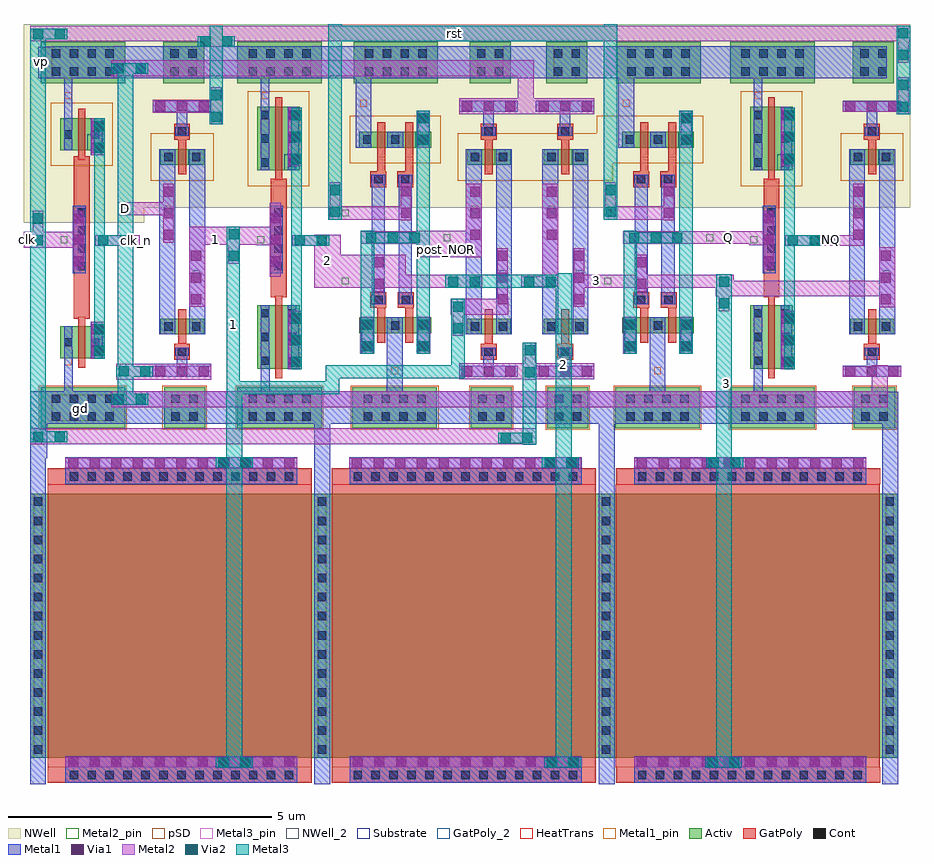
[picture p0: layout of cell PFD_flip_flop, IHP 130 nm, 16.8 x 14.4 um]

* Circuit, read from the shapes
.subckt PFD_flip_flop 1 2 3 D NQ Q clk clk_n gd post_NOR rst vp
XM1 gd 1 gd gd sg13_lv_nmos w=5u l=5u
XM2 clk_n clk gd gd sg13_lv_nmos w=0.6u l=0.13u
XM3 1 clk_n D gd sg13_lv_nmos w=0.3u l=0.15u
XM4 2 1 gd gd sg13_lv_nmos w=1.2u l=0.13u
XM5 gd 2 gd gd sg13_lv_nmos w=5u l=5u
XM6 gd 2 post_NOR gd sg13_lv_nmos w=0.3u l=0.15u
XM7 post_NOR rst gd gd sg13_lv_nmos w=0.3u l=0.15u
XM8 1 clk post_NOR gd sg13_lv_nmos w=0.3u l=0.15u
XM9 3 clk 2 gd sg13_lv_nmos w=0.3u l=0.15u
XM10 gd 3 gd gd sg13_lv_nmos w=5u l=5u
XM11 gd 3 Q gd sg13_lv_nmos w=0.3u l=0.15u
XM12 Q rst gd gd sg13_lv_nmos w=0.3u l=0.15u
XM13 NQ Q gd gd sg13_lv_nmos w=1.2u l=0.13u
XM14 3 clk_n NQ gd sg13_lv_nmos w=0.3u l=0.15u
XM15 clk_n clk vp vp sg13_lv_pmos w=0.6u l=0.13u
XM16 1 clk D vp sg13_lv_pmos w=0.3u l=0.15u
XM17 2 1 vp vp sg13_lv_pmos w=1.2u l=0.13u
XM18 n1 2 vp vp sg13_lv_pmos w=0.3u l=0.15u
XM19 post_NOR rst n1 vp sg13_lv_pmos w=0.3u l=0.15u
XM20 1 clk_n post_NOR vp sg13_lv_pmos w=0.3u l=0.15u
XM21 3 clk_n 2 vp sg13_lv_pmos w=0.3u l=0.15u
XM22 n2 3 vp vp sg13_lv_pmos w=0.3u l=0.15u
XM23 Q rst n2 vp sg13_lv_pmos w=0.3u l=0.15u
XM24 NQ Q vp vp sg13_lv_pmos w=1.2u l=0.13u
XM25 3 clk NQ vp sg13_lv_pmos w=0.3u l=0.15u
.ends

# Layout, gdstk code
from math import pi, radians
import gdstk
lib = gdstk.Library(unit=1e-6, precision=1e-09)
def R(c, l, rs):  # rectangles x0, y0, x1, y1
    for r in rs: c.add(gdstk.rectangle(r[:2], r[2:], *l))
def A(c, l, x, y, w, h, nx, ny, dx, dy):  # array of equal rectangles
    R(c, l, [(x+i*dx, y+j*dy, x+i*dx+w, y+j*dy+h) for i in range(nx) for j in range(ny)])
def P(c, l, *ps):  # polygons
    for p in ps: c.add(gdstk.Polygon(p, *l))
Activ = (1, 0)
GatPoly = (5, 0)
GatPoly_2 = (5, 2)
Cont = (6, 0)
Metal1 = (8, 0)
Metal1_pin = (8, 2)
Metal2 = (10, 0)
Metal2_pin = (10, 2)
pSD = (14, 0)
Via1 = (19, 0)
Via2 = (29, 0)
Metal3 = (30, 0)
Metal3_pin = (30, 2)
NWell = (31, 0)
NWell_2 = (31, 2)
Substrate = (40, 0)
HeatTrans = (51, 0)

via_3 = lib.new_cell('Via$3')
R(via_3, Metal2, [(-0.1,-0.555,0.1,0.555)])
A(via_3, Via2, -0.095, -0.505, 0.19, 0.19, 1, 3, 0, 0.41)
R(via_3, Metal3, [(-0.1,-0.555,0.1,0.555)])

via_2_1 = lib.new_cell('Via$2$1')
R(via_2_1, Metal1, [(-0.105,-0.555,0.105,0.555)])
R(via_2_1, Metal2, [(-0.1,-0.555,0.1,0.555)])
A(via_2_1, Via1, -0.095, -0.505, 0.19, 0.19, 1, 3, 0, 0.41)

via_3_1 = lib.new_cell('Via$3$1')
R(via_3_1, Metal2, [(-0.35,-0.1,0.35,0.1)])
R(via_3_1, Via2, [(-0.3,-0.095,-0.11,0.095), (0.11,-0.095,0.3,0.095)])
R(via_3_1, Metal3, [(-0.35,-0.1,0.35,0.1)])

ntap1_1 = lib.new_cell('ntap1$1')
R(ntap1_1, Activ, [(0,0,1.6,0.78)])
A(ntap1_1, Cont, 0.21, 0.14, 0.16, 0.16, 4, 2, 0.34, 0.34)
R(ntap1_1, Metal1, [(0.21,0.09,1.39,0.69)])
R(ntap1_1, Metal1_pin, [(0.21,0.09,1.39,0.69), (0.21,0.14,1.39,0.64)])
R(ntap1_1, NWell, [(-0.24,-0.24,1.84,1.02), (0,0,1.6,0.78)])
R(ntap1_1, NWell_2, [(0,0,1.6,0.78)])
ntap1_1.add(gdstk.Label('well', (0.8,0.01), layer=63, texttype=0))
ntap1_1.add(gdstk.Label('well', (0.8,0.01), layer=31, texttype=0))

ptap1_1 = lib.new_cell('ptap1$1')
R(ptap1_1, Activ, [(0,0,1.6,0.78)])
A(ptap1_1, Cont, 0.21, 0.14, 0.16, 0.16, 4, 2, 0.34, 0.34)
R(ptap1_1, Metal1, [(0.21,0.09,1.39,0.69), (0.21,0.14,1.39,0.64)])
R(ptap1_1, Metal1_pin, [(0.21,0.14,1.39,0.64)])
R(ptap1_1, pSD, [(-0.03,-0.03,1.63,0.81)])
R(ptap1_1, Substrate, [(0,0,1.6,0.78)])
ptap1_1.add(gdstk.Label('sub!', (0.8,0.01), layer=63, texttype=0))
ptap1_1.add(gdstk.Label('sub!', (0.8,0.01), layer=40, texttype=0))

nmos_1 = lib.new_cell('nmos$1')
R(nmos_1, Activ, [(0,0,0.3,0.3), (0,0,0.81,1.2), (0.51,0,0.81,0.3)])
R(nmos_1, GatPoly, [(0.34,-0.18,0.47,1.38)])
R(nmos_1, GatPoly_2, [(0.34,-0.18,0.47,1.38)])
A(nmos_1, Cont, 0.07, 0.07, 0.16, 0.16, 1, 3, 0, 0.45)
A(nmos_1, Cont, 0.58, 0.07, 0.16, 0.16, 1, 3, 0, 0.45)
R(nmos_1, Metal1, [(0.07,0,0.23,1.2), (0.58,0,0.74,1.2)])
R(nmos_1, Metal1_pin, [(0.07,0,0.23,1.2), (0.58,0,0.74,1.2)])
R(nmos_1, HeatTrans, [(0.34,-0.18,0.47,1.38)])
nmos_1.add(gdstk.Label('nmos', (0.405,0.6), layer=63, texttype=0))
nmos_1.add(gdstk.Label('nmos', (0.405,0.6), layer=51, texttype=0))

pmos_1 = lib.new_cell('pmos$1')
R(pmos_1, Activ, [(0,0,0.3,0.3), (0,0,0.81,1.2), (0.51,0,0.81,0.3)])
R(pmos_1, GatPoly, [(0.34,-0.18,0.47,1.38), (0.34,-0.18,0.47,1.38)])
A(pmos_1, Cont, 0.07, 0.07, 0.16, 0.16, 1, 3, 0, 0.45)
A(pmos_1, Cont, 0.58, 0.07, 0.16, 0.16, 1, 3, 0, 0.45)
R(pmos_1, Metal1, [(0.07,0,0.23,1.2), (0.07,0,0.23,1.2), (0.58,0,0.74,1.2), (0.58,0,0.74,1.2)])
R(pmos_1, pSD, [(-0.18,-0.3,0.99,1.5)])
R(pmos_1, NWell, [(-0.31,-0.31,1.12,1.51)])
R(pmos_1, Substrate, [(0.51,0,0.81,0.3)])
R(pmos_1, HeatTrans, [(0.34,-0.18,0.47,1.38)])
pmos_1.add(gdstk.Label('pmos', (0.405,0.6), layer=63, texttype=0))
pmos_1.add(gdstk.Label('pmos', (0.405,0.6), layer=51, texttype=0))

via_4 = lib.new_cell('Via$4')
R(via_4, GatPoly, [(-0.15,-0.66,0.15,0.66)])
A(via_4, Cont, -0.08, -0.59, 0.16, 0.16, 1, 4, 0, 0.34)
R(via_4, Metal1, [(-0.08,-0.64,0.08,0.64)])

inverter_x8 = lib.new_cell('inverter_x8')
R(inverter_x8, GatPoly, [(-0.265,-2.855,-0.135,-2.655), (-0.35,-2.25,-0.05,-1.81), (-0.35,-0.49,-0.05,0)])
R(inverter_x8, Metal1, [(-0.535,-4.45,-0.37,-3.805), (-0.535,-3.805,-0.37,-3.24), (-0.37,-1.79,-0.35,-0.51), (-0.35,-1.79,-0.28,-0.51), (-0.535,0.96,-0.375,1.26), (-0.535,1.245,-0.375,2.235)])
R(inverter_x8, Metal1_pin, [(-0.52,-3.54,-0.39,-3.41), (-0.52,1.51,-0.39,1.64)])
R(inverter_x8, Metal2, [(0.53,-1.27,0.9,-1.07), (-0.62,-1.26,-0.28,-1.06)])
R(inverter_x8, Metal2_pin, [(0.555,-1.235,0.685,-1.105), (-0.6,-1.225,-0.47,-1.095)])
R(inverter_x8, Metal3, [(0.04,-3.09,0.24,-2.63), (0.04,-2.7,0.24,-0.24), (0.04,-0.34,0.24,0.76)])
R(inverter_x8, NWell, [(-1.3,-0.55,0.98,0.655), (-1.3,0.655,0.755,2.925), (0.755,0.655,0.98,2.925)])
inverter_x8.add(gdstk.Reference(via_3, (0.14,-3.06)))
inverter_x8.add(gdstk.Reference(via_2_1, (0.08,-3.06)))
inverter_x8.add(gdstk.Reference(via_2_1, (-0.26,-1.16)))
inverter_x8.add(gdstk.Reference(via_3_1, (0.41,-1.17)))
inverter_x8.add(gdstk.Reference(via_3, (0.14,0.79)))
inverter_x8.add(gdstk.Reference(via_2_1, (0.08,0.79)))
inverter_x8.add(gdstk.Reference(ntap1_1, (-0.98,1.81)))
inverter_x8.add(gdstk.Reference(ptap1_1, (-0.98,-4.73)))
inverter_x8.add(gdstk.Reference(nmos_1, (-0.605,-3.6)))
inverter_x8.add(gdstk.Reference(pmos_1, (-0.605,0.16)))
inverter_x8.add(gdstk.Reference(via_4, (-0.2,-1.15)))
inverter_x8.add(gdstk.Label('OUT', (0.62,-1.17), layer=10, texttype=25))
inverter_x8.add(gdstk.Label('IN', (-0.54,-1.16), layer=10, texttype=25))
inverter_x8.add(gdstk.Label('GND', (-0.455,-3.47), layer=8, texttype=25))
inverter_x8.add(gdstk.Label('VP', (-0.455,1.57), layer=8, texttype=25))

via_12 = lib.new_cell('Via$12')
R(via_12, Metal2, [(-0.1,-0.35,0.1,0.35)])
R(via_12, Via2, [(-0.095,-0.3,0.095,-0.11), (-0.095,0.11,0.095,0.3)])
R(via_12, Metal3, [(-0.1,-0.35,0.1,0.35)])

pmos_2 = lib.new_cell('pmos$2')
R(pmos_2, Activ, [(0,0,0.3,0.3), (0,0,0.83,0.3), (0.53,0,0.83,0.3)])
R(pmos_2, GatPoly, [(0.34,-0.18,0.49,0.48), (0.34,-0.18,0.49,0.48)])
R(pmos_2, Cont, [(0.07,0.07,0.23,0.23), (0.6,0.07,0.76,0.23)])
R(pmos_2, Metal1, [(0.07,0,0.23,0.3), (0.07,0,0.23,0.3), (0.6,0,0.76,0.3), (0.6,0,0.76,0.3)])
R(pmos_2, pSD, [(-0.18,-0.3,1.01,0.6)])
R(pmos_2, NWell, [(-0.31,-0.31,1.14,0.61)])
R(pmos_2, Substrate, [(0.53,0,0.83,0.3)])
R(pmos_2, HeatTrans, [(0.34,-0.18,0.49,0.48)])
pmos_2.add(gdstk.Label('pmos', (0.415,0.15), layer=63, texttype=0))
pmos_2.add(gdstk.Label('pmos', (0.415,0.15), layer=51, texttype=0))

nmos_2 = lib.new_cell('nmos$2')
R(nmos_2, Activ, [(0,0,0.3,0.3), (0,0,0.83,0.3), (0.53,0,0.83,0.3)])
R(nmos_2, GatPoly, [(0.34,-0.18,0.49,0.48)])
R(nmos_2, GatPoly_2, [(0.34,-0.18,0.49,0.48)])
R(nmos_2, Cont, [(0.07,0.07,0.23,0.23), (0.6,0.07,0.76,0.23)])
R(nmos_2, Metal1, [(0.07,0,0.23,0.3), (0.6,0,0.76,0.3)])
R(nmos_2, Metal1_pin, [(0.07,0,0.23,0.3), (0.6,0,0.76,0.3)])
R(nmos_2, HeatTrans, [(0.34,-0.18,0.49,0.48)])
nmos_2.add(gdstk.Label('nmos', (0.415,0.15), layer=63, texttype=0))
nmos_2.add(gdstk.Label('nmos', (0.415,0.15), layer=51, texttype=0))

ptap1_2 = lib.new_cell('ptap1$2')
R(ptap1_2, Activ, [(0,0,0.78,0.78)])
R(ptap1_2, Cont, [(0.14,0.14,0.3,0.3), (0.48,0.14,0.64,0.3), (0.14,0.48,0.3,0.64), (0.48,0.48,0.64,0.64)])
R(ptap1_2, Metal1, [(0.14,0.09,0.64,0.69), (0.14,0.14,0.64,0.64)])
R(ptap1_2, Metal1_pin, [(0.14,0.14,0.64,0.64)])
R(ptap1_2, pSD, [(-0.03,-0.03,0.81,0.81)])
R(ptap1_2, Substrate, [(0,0,0.78,0.78)])
ptap1_2.add(gdstk.Label('sub!', (0.39,0.01), layer=63, texttype=0))
ptap1_2.add(gdstk.Label('sub!', (0.39,0.01), layer=40, texttype=0))

ntap1_2 = lib.new_cell('ntap1$2')
R(ntap1_2, Activ, [(0,0,0.78,0.78)])
R(ntap1_2, Cont, [(0.14,0.14,0.3,0.3), (0.48,0.14,0.64,0.3), (0.14,0.48,0.3,0.64), (0.48,0.48,0.64,0.64)])
R(ntap1_2, Metal1, [(0.14,0.09,0.64,0.69)])
R(ntap1_2, Metal1_pin, [(0.14,0.09,0.64,0.69), (0.14,0.14,0.64,0.64)])
R(ntap1_2, NWell, [(-0.24,-0.24,1.02,1.02), (0,0,0.78,0.78)])
R(ntap1_2, NWell_2, [(0,0,0.78,0.78)])
ntap1_2.add(gdstk.Label('well', (0.39,0.01), layer=63, texttype=0))
ntap1_2.add(gdstk.Label('well', (0.39,0.01), layer=31, texttype=0))

via_10 = lib.new_cell('Via$10')
R(via_10, Metal1, [(-0.555,-0.105,0.555,0.105)])
R(via_10, Metal2, [(-0.555,-0.1,0.555,0.1)])
A(via_10, Via1, -0.505, -0.095, 0.19, 0.19, 3, 1, 0.41, 0)

via_5_2 = lib.new_cell('Via$5$2')
R(via_5_2, GatPoly, [(-0.15,-0.15,0.15,0.15)])
R(via_5_2, Cont, [(-0.08,-0.08,0.08,0.08)])
R(via_5_2, Metal1, [(-0.13,-0.08,0.13,0.08)])

via_3_2 = lib.new_cell('Via$3$2')
R(via_3_2, Metal1, [(-0.105,-0.555,0.105,0.555)])
R(via_3_2, Metal2, [(-0.1,-0.555,0.1,0.555)])
A(via_3_2, Via1, -0.095, -0.505, 0.19, 0.19, 1, 3, 0, 0.41)

pfd_passgate = lib.new_cell('PFD_passgate')
R(pfd_passgate, Metal1_pin, [(-3.245,-4.395,-3.115,-4.265), (-3.245,2.135,-3.115,2.265)])
R(pfd_passgate, Metal2_pin, [(-3.295,-3.705,-3.165,-3.575), (-3.015,-1.865,-2.885,-1.735), (-3.545,-0.645,-3.415,-0.515), (-3.285,1.295,-3.155,1.425)])
R(pfd_passgate, NWell, [(-3.94,-0.55,-2.49,2.83), (-3.94,2.83,-2.49,2.93)])
pfd_passgate.add(gdstk.FlexPath([(-2.93,0.56),(-2.93,-2.95)], 0.3, ends="flush", simple_path=True, layer=8, datatype=0))  # Metal1
pfd_passgate.add(gdstk.FlexPath([(-3.5,0.56),(-3.5,-2.95)], 0.3, ends="flush", simple_path=True, layer=8, datatype=0))  # Metal1
pfd_passgate.add(gdstk.FlexPath([(-3.22,0.81),(-3.22,1.33)], 0.2, ends="flush", simple_path=True, layer=8, datatype=0))  # Metal1
pfd_passgate.add(gdstk.FlexPath([(-3.22,-3.72),(-3.22,-3.2)], 0.2, ends="flush", simple_path=True, layer=8, datatype=0))  # Metal1
pfd_passgate.add(gdstk.Reference(pmos_2, (-3.63,0.26)))
pfd_passgate.add(gdstk.Reference(nmos_2, (-3.63,-2.95)))
pfd_passgate.add(gdstk.Reference(ptap1_2, (-3.56,-4.73)))
pfd_passgate.add(gdstk.Reference(ntap1_2, (-3.58,1.81)))
pfd_passgate.add(gdstk.Reference(via_10, (-3.22,1.37)))
pfd_passgate.add(gdstk.Reference(via_5_2, (-3.22,0.89)))
pfd_passgate.add(gdstk.Reference(via_5_2, (-3.22,-3.28)))
pfd_passgate.add(gdstk.Reference(via_10, (-3.22,-3.65)))
pfd_passgate.add(gdstk.Reference(via_3_2, (-3.475,-0.655)))
pfd_passgate.add(gdstk.Reference(via_3_2, (-2.955,-1.875)))
pfd_passgate.add(gdstk.Label('A', (-3.48,-0.58), layer=10, texttype=25))
pfd_passgate.add(gdstk.Label('B', (-2.95,-1.8), layer=10, texttype=25))
pfd_passgate.add(gdstk.Label('in_p', (-3.22,1.36), layer=10, texttype=25))
pfd_passgate.add(gdstk.Label('in_n', (-3.23,-3.64), layer=10, texttype=25))
pfd_passgate.add(gdstk.Label('gnd', (-3.18,-4.33), layer=8, texttype=25))
pfd_passgate.add(gdstk.Label('vp', (-3.18,2.2), layer=8, texttype=25))

pmos_3 = lib.new_cell('pmos$3')
R(pmos_3, Activ, [(0,0,0.3,0.3), (0,0,0.83,0.3), (0.53,0,0.83,0.3)])
R(pmos_3, GatPoly, [(0.34,-0.18,0.49,0.48), (0.34,-0.18,0.49,0.48)])
R(pmos_3, Cont, [(0.07,0.07,0.23,0.23), (0.6,0.07,0.76,0.23)])
R(pmos_3, Metal1, [(0.07,0,0.23,0.3), (0.07,0,0.23,0.3), (0.6,0,0.76,0.3), (0.6,0,0.76,0.3)])
R(pmos_3, pSD, [(-0.18,-0.3,1.01,0.6)])
R(pmos_3, NWell, [(-0.31,-0.31,1.14,0.61)])
R(pmos_3, Substrate, [(0.53,0,0.83,0.3)])
R(pmos_3, HeatTrans, [(0.34,-0.18,0.49,0.48)])
pmos_3.add(gdstk.Label('pmos', (0.415,0.15), layer=63, texttype=0))
pmos_3.add(gdstk.Label('pmos', (0.415,0.15), layer=51, texttype=0))

ntap1_3 = lib.new_cell('ntap1$3')
R(ntap1_3, Activ, [(0,0,1.6,0.78)])
A(ntap1_3, Cont, 0.21, 0.14, 0.16, 0.16, 4, 2, 0.34, 0.34)
R(ntap1_3, Metal1, [(0.21,0.09,1.39,0.69)])
R(ntap1_3, Metal1_pin, [(0.21,0.09,1.39,0.69), (0.21,0.14,1.39,0.64)])
R(ntap1_3, NWell, [(-0.24,-0.24,1.84,1.02), (0,0,1.6,0.78)])
R(ntap1_3, NWell_2, [(0,0,1.6,0.78)])
ntap1_3.add(gdstk.Label('well', (0.8,0.01), layer=63, texttype=0))
ntap1_3.add(gdstk.Label('well', (0.8,0.01), layer=31, texttype=0))

via_5_3 = lib.new_cell('Via$5$3')
R(via_5_3, GatPoly, [(-0.15,-0.15,0.15,0.15)])
R(via_5_3, Cont, [(-0.08,-0.08,0.08,0.08)])
R(via_5_3, Metal1, [(-0.13,-0.08,0.13,0.08)])

via_6_1 = lib.new_cell('Via$6$1')
R(via_6_1, Metal1, [(-0.105,-0.35,0.105,0.35)])
R(via_6_1, Metal2, [(-0.1,-0.35,0.1,0.35)])
R(via_6_1, Via1, [(-0.095,-0.3,0.095,-0.11), (-0.095,0.11,0.095,0.3)])

ptap1_3 = lib.new_cell('ptap1$3')
R(ptap1_3, Activ, [(0,0,1.6,0.78)])
A(ptap1_3, Cont, 0.21, 0.14, 0.16, 0.16, 4, 2, 0.34, 0.34)
R(ptap1_3, Metal1, [(0.21,0.09,1.39,0.69), (0.21,0.14,1.39,0.64)])
R(ptap1_3, Metal1_pin, [(0.21,0.14,1.39,0.64)])
R(ptap1_3, pSD, [(-0.03,-0.03,1.63,0.81)])
R(ptap1_3, Substrate, [(0,0,1.6,0.78)])
ptap1_3.add(gdstk.Label('sub!', (0.8,0.01), layer=63, texttype=0))
ptap1_3.add(gdstk.Label('sub!', (0.8,0.01), layer=40, texttype=0))

nmos_3 = lib.new_cell('nmos$3')
R(nmos_3, Activ, [(0,0,0.3,0.3), (0,0,0.83,0.3), (0.53,0,0.83,0.3)])
R(nmos_3, GatPoly, [(0.34,-0.18,0.49,0.48)])
R(nmos_3, GatPoly_2, [(0.34,-0.18,0.49,0.48)])
R(nmos_3, Cont, [(0.07,0.07,0.23,0.23), (0.6,0.07,0.76,0.23)])
R(nmos_3, Metal1, [(0.07,0,0.23,0.3), (0.6,0,0.76,0.3)])
R(nmos_3, Metal1_pin, [(0.07,0,0.23,0.3), (0.6,0,0.76,0.3)])
R(nmos_3, HeatTrans, [(0.34,-0.18,0.49,0.48)])
nmos_3.add(gdstk.Label('nmos', (0.415,0.15), layer=63, texttype=0))
nmos_3.add(gdstk.Label('nmos', (0.415,0.15), layer=51, texttype=0))

via_8 = lib.new_cell('Via$8')
R(via_8, Metal2, [(-0.1,-0.35,0.1,0.35)])
R(via_8, Via2, [(-0.095,-0.3,0.095,-0.11), (-0.095,0.11,0.095,0.3)])
R(via_8, Metal3, [(-0.1,-0.35,0.1,0.35)])

via_7_1 = lib.new_cell('Via$7$1')
R(via_7_1, Metal2, [(-0.555,-0.1,0.555,0.1)])
A(via_7_1, Via2, -0.505, -0.095, 0.19, 0.19, 3, 1, 0.41, 0)
R(via_7_1, Metal3, [(-0.555,-0.1,0.555,0.1)])

pfd_nor = lib.new_cell('PFD_NOR')
R(pfd_nor, GatPoly, [(0.53,0.13,0.68,0.41), (0,0.14,0.15,0.41)])
R(pfd_nor, Metal1, [(-0.34,-4.64,1.02,-4.04), (0.19,0.59,0.49,0.89)])
R(pfd_nor, Metal1_pin, [(0.265,-3.705,0.395,-3.575), (-0.325,1.365,-0.195,1.495)])
R(pfd_nor, Metal2, [(-0.315,-1.23,1.39,-1)])
R(pfd_nor, Metal2_pin, [(-0.675,-2.005,-0.545,-1.875), (1.255,-1.185,1.385,-1.055), (-0.675,-0.715,-0.545,-0.585)])
R(pfd_nor, NWell, [(-0.69,-0.55,1.39,2.93)])
pfd_nor.add(gdstk.FlexPath([(-0.26,0.59),(-0.26,2.5)], 0.3, ends="flush", simple_path=True, layer=8, datatype=0))  # Metal1
pfd_nor.add(gdstk.FlexPath([(0.02,0.07),(0.02,-2.38)], 0.25, ends="flush", simple_path=True, layer=8, datatype=0))  # Metal1
pfd_nor.add(gdstk.FlexPath([(0.53,0.07),(0.53,-2.38)], 0.25, ends="flush", simple_path=True, layer=8, datatype=0))  # Metal1
pfd_nor.add(gdstk.FlexPath([(0.33,-2.63),(0.33,-4.04)], 0.3, ends="flush", simple_path=True, layer=8, datatype=0))  # Metal1
pfd_nor.add(gdstk.FlexPath([(-0.195,-2.62),(-0.195,-3.32)], 0.25, ends="flush", simple_path=True, layer=10, datatype=0))  # Metal2
pfd_nor.add(gdstk.FlexPath([(0.875,-2.62),(0.875,-3.32)], 0.25, ends="flush", simple_path=True, layer=10, datatype=0))  # Metal2
pfd_nor.add(gdstk.FlexPath([(0.87,1.29),(0.87,0.59)], 0.25, ends="flush", simple_path=True, layer=10, datatype=0))  # Metal2
pfd_nor.add(gdstk.FlexPath([(0.64,-0.65),(-0.69,-0.65)], 0.25, ends="flush", simple_path=True, layer=10, datatype=0))  # Metal2
pfd_nor.add(gdstk.FlexPath([(0.125,-1.945),(-0.69,-1.945)], 0.25, ends="flush", simple_path=True, layer=10, datatype=0))  # Metal2
pfd_nor.add(gdstk.FlexPath([(-0.185,-3.32),(-0.185,-0.99)], 0.25, ends="flush", simple_path=True, layer=30, datatype=0))  # Metal3
pfd_nor.add(gdstk.FlexPath([(0.87,-3.32),(0.87,1.29)], 0.25, ends="flush", simple_path=True, layer=30, datatype=0))  # Metal3
pfd_nor.add(gdstk.Reference(pmos_3, (-0.34,0.59)))
pfd_nor.add(gdstk.Reference(pmos_3, (0.19,0.59)))
pfd_nor.add(gdstk.Reference(ntap1_3, (-0.45,1.81)))
pfd_nor.add(gdstk.Reference(via_5_3, (0.02,-0.01)))
pfd_nor.add(gdstk.Reference(via_5_3, (0.53,-0.01)))
pfd_nor.add(gdstk.Reference(via_5_3, (0.02,-2.3)))
pfd_nor.add(gdstk.Reference(via_5_3, (0.54,-2.3)))
pfd_nor.add(gdstk.Reference(via_6_1, (0.025,-1.79)))
pfd_nor.add(gdstk.Reference(via_6_1, (0.545,-0.44)))
pfd_nor.add(gdstk.Reference(ptap1_3, (-0.47,-4.73)))
pfd_nor.add(gdstk.Reference(nmos_3, (-0.34,-2.93)))
pfd_nor.add(gdstk.Reference(nmos_3, (0.19,-2.93)))
pfd_nor.add(gdstk.Reference(via_8, (0.87,0.94)))
pfd_nor.add(gdstk.Reference(via_6_1, (0.875,0.94)))
pfd_nor.add(gdstk.Reference(via_8, (0.87,-2.97)))
pfd_nor.add(gdstk.Reference(via_6_1, (0.875,-2.97)))
pfd_nor.add(gdstk.Reference(via_8, (-0.19,-2.97)))
pfd_nor.add(gdstk.Reference(via_6_1, (-0.185,-2.97)))
pfd_nor.add(gdstk.Reference(via_7_1, (0.295,-1.12)))
pfd_nor.add(gdstk.Label('Out', (1.32,-1.12), layer=10, texttype=25))
pfd_nor.add(gdstk.Label('A', (-0.61,-0.65), layer=10, texttype=25))
pfd_nor.add(gdstk.Label('B', (-0.61,-1.94), layer=10, texttype=25))
pfd_nor.add(gdstk.Label('gd', (0.33,-3.64), layer=8, texttype=25))
pfd_nor.add(gdstk.Label('vp', (-0.26,1.43), layer=8, texttype=25))

via = lib.new_cell('Via')
R(via, Metal2, [(-0.35,-0.1,0.35,0.1)])
R(via, Via2, [(-0.3,-0.095,-0.11,0.095), (0.11,-0.095,0.3,0.095)])
R(via, Metal3, [(-0.35,-0.1,0.35,0.1)])

via_2 = lib.new_cell('Via$2')
R(via_2, Metal2, [(-0.1,-0.35,0.1,0.35)])
R(via_2, Via2, [(-0.095,-0.3,0.095,-0.11), (-0.095,0.11,0.095,0.3)])
R(via_2, Metal3, [(-0.1,-0.35,0.1,0.35)])

via_1 = lib.new_cell('Via$1')
R(via_1, Metal1, [(-0.105,-0.35,0.105,0.35)])
R(via_1, Metal2, [(-0.1,-0.35,0.1,0.35)])
R(via_1, Via1, [(-0.095,-0.3,0.095,-0.11), (-0.095,0.11,0.095,0.3)])

via_6 = lib.new_cell('Via$6')
R(via_6, Metal1, [(-0.105,-0.555,0.105,0.555)])
R(via_6, Metal2, [(-0.1,-0.555,0.1,0.555)])
A(via_6, Via1, -0.095, -0.505, 0.19, 0.19, 1, 3, 0, 0.41)

via_7 = lib.new_cell('Via$7')
R(via_7, Metal2, [(-0.35,-0.1,0.35,0.1)])
R(via_7, Via2, [(-0.3,-0.095,-0.11,0.095), (0.11,-0.095,0.3,0.095)])
R(via_7, Metal3, [(-0.35,-0.1,0.35,0.1)])

ntap1_4 = lib.new_cell('ntap1$4')
R(ntap1_4, Activ, [(0,0,1.6,0.78)])
A(ntap1_4, Cont, 0.21, 0.14, 0.16, 0.16, 4, 2, 0.34, 0.34)
R(ntap1_4, Metal1, [(0.21,0.09,1.39,0.69)])
R(ntap1_4, Metal1_pin, [(0.21,0.09,1.39,0.69), (0.21,0.14,1.39,0.64)])
R(ntap1_4, NWell, [(-0.24,-0.24,1.84,1.02), (0,0,1.6,0.78)])
R(ntap1_4, NWell_2, [(0,0,1.6,0.78)])
ntap1_4.add(gdstk.Label('well', (0.8,0.01), layer=63, texttype=0))
ntap1_4.add(gdstk.Label('well', (0.8,0.01), layer=31, texttype=0))

ptap1_5 = lib.new_cell('ptap1$5')
R(ptap1_5, Activ, [(0,0,1.6,0.78)])
A(ptap1_5, Cont, 0.21, 0.14, 0.16, 0.16, 4, 2, 0.34, 0.34)
R(ptap1_5, Metal1, [(0.21,0.09,1.39,0.69), (0.21,0.14,1.39,0.64)])
R(ptap1_5, Metal1_pin, [(0.21,0.14,1.39,0.64)])
R(ptap1_5, pSD, [(-0.03,-0.03,1.63,0.81)])
R(ptap1_5, Substrate, [(0,0,1.6,0.78)])
ptap1_5.add(gdstk.Label('sub!', (0.8,0.01), layer=63, texttype=0))
ptap1_5.add(gdstk.Label('sub!', (0.8,0.01), layer=40, texttype=0))

nmos = lib.new_cell('nmos')
R(nmos, Activ, [(0,0,0.3,0.3), (0,0,0.81,0.6), (0.51,0,0.81,0.3)])
R(nmos, GatPoly, [(0.34,-0.18,0.47,0.78)])
R(nmos, GatPoly_2, [(0.34,-0.18,0.47,0.78)])
R(nmos, Cont, [(0.07,0.22,0.23,0.38), (0.58,0.22,0.74,0.38)])
R(nmos, Metal1, [(0.07,0,0.23,0.6), (0.58,0,0.74,0.6)])
R(nmos, Metal1_pin, [(0.07,0,0.23,0.6), (0.58,0,0.74,0.6)])
R(nmos, HeatTrans, [(0.34,-0.18,0.47,0.78)])
nmos.add(gdstk.Label('nmos', (0.405,0.3), layer=63, texttype=0))
nmos.add(gdstk.Label('nmos', (0.405,0.3), layer=51, texttype=0))

pmos = lib.new_cell('pmos')
R(pmos, Activ, [(0,0,0.3,0.3), (0,0,0.81,0.6), (0.51,0,0.81,0.3)])
R(pmos, GatPoly, [(0.34,-0.18,0.47,0.78), (0.34,-0.18,0.47,0.78)])
R(pmos, Cont, [(0.07,0.22,0.23,0.38), (0.58,0.22,0.74,0.38)])
R(pmos, Metal1, [(0.07,0,0.23,0.6), (0.07,0,0.23,0.6), (0.58,0,0.74,0.6), (0.58,0,0.74,0.6)])
R(pmos, pSD, [(-0.18,-0.3,0.99,0.9)])
R(pmos, NWell, [(-0.31,-0.31,1.12,0.91)])
R(pmos, Substrate, [(0.51,0,0.81,0.3)])
R(pmos, HeatTrans, [(0.34,-0.18,0.47,0.78)])
pmos.add(gdstk.Label('pmos', (0.405,0.3), layer=63, texttype=0))
pmos.add(gdstk.Label('pmos', (0.405,0.3), layer=51, texttype=0))

via_5 = lib.new_cell('Via$5')
R(via_5, GatPoly, [(-0.15,-0.66,0.15,0.66)])
A(via_5, Cont, -0.08, -0.59, 0.16, 0.16, 1, 4, 0, 0.34)
R(via_5, Metal1, [(-0.08,-0.64,0.08,0.64)])

inverter_x4 = lib.new_cell('inverter_x4')
R(inverter_x4, GatPoly, [(-0.265,-2.855,-0.135,-2.655), (-0.35,-2.65,-0.05,-1.81), (-0.35,-0.49,-0.05,0.42)])
R(inverter_x4, Metal1, [(-0.535,-4.45,-0.37,-3.805), (-0.535,-3.805,-0.37,-3.24), (-0.37,-1.79,-0.35,-0.51), (-0.35,-1.79,-0.28,-0.51), (-0.535,0.96,-0.375,1.26), (-0.535,1.245,-0.375,2.235)])
R(inverter_x4, Metal1_pin, [(-0.52,-3.54,-0.39,-3.41), (-0.52,1.51,-0.39,1.64)])
R(inverter_x4, Metal2, [(-0.02,-3.41,0.24,-2.71), (0.53,-1.27,0.9,-1.07), (-0.62,-1.26,-0.28,-1.06), (-0.02,0.44,0.24,1.14)])
R(inverter_x4, Metal2_pin, [(0.555,-1.235,0.685,-1.105), (-0.6,-1.225,-0.47,-1.095)])
R(inverter_x4, Metal3, [(0.04,-3.09,0.24,-2.63), (0.04,-2.7,0.24,-0.24), (0.04,-0.34,0.24,0.76)])
R(inverter_x4, NWell, [(-1.3,-0.84,0.98,0.14), (-1.3,0.14,0.98,0.655), (-1.3,0.655,0.755,2.925), (0.755,0.655,0.98,2.925)])
inverter_x4.add(gdstk.Reference(via_2, (0.14,-3.06)))
inverter_x4.add(gdstk.Reference(via_1, (0.08,-3.06)))
inverter_x4.add(gdstk.Reference(via_6, (-0.26,-1.16)))
inverter_x4.add(gdstk.Reference(via_7, (0.41,-1.17)))
inverter_x4.add(gdstk.Reference(via_2, (0.14,0.79)))
inverter_x4.add(gdstk.Reference(via_1, (0.08,0.79)))
inverter_x4.add(gdstk.Reference(ntap1_4, (-0.98,1.81)))
inverter_x4.add(gdstk.Reference(ptap1_5, (-0.98,-4.73)))
inverter_x4.add(gdstk.Reference(nmos, (-0.605,-3.4)))
inverter_x4.add(gdstk.Reference(pmos, (-0.605,0.54)))
inverter_x4.add(gdstk.Reference(via_5, (-0.2,-1.15)))
inverter_x4.add(gdstk.Label('OUT', (0.62,-1.17), layer=10, texttype=25))
inverter_x4.add(gdstk.Label('IN', (-0.54,-1.16), layer=10, texttype=25))
inverter_x4.add(gdstk.Label('GND', (-0.455,-3.47), layer=8, texttype=25))
inverter_x4.add(gdstk.Label('VP', (-0.455,1.57), layer=8, texttype=25))

nmos_5 = lib.new_cell('nmos$5')
R(nmos_5, Activ, [(0,0,0.3,0.3), (0,0,5.68,5), (5.38,0,5.68,0.3)])
R(nmos_5, GatPoly, [(0.34,-0.18,5.34,5.18)])
R(nmos_5, GatPoly_2, [(0.34,-0.18,5.34,5.18)])
A(nmos_5, Cont, 0.07, 0.07, 0.16, 0.16, 1, 4, 0, 0.36)
A(nmos_5, Cont, 5.45, 0.07, 0.16, 0.16, 1, 4, 0, 0.36)
A(nmos_5, Cont, 0.07, 1.515, 0.16, 0.16, 1, 3, 0, 0.36)
A(nmos_5, Cont, 5.45, 1.515, 0.16, 0.16, 1, 3, 0, 0.36)
A(nmos_5, Cont, 0.07, 2.6, 0.16, 0.16, 1, 3, 0, 0.36)
A(nmos_5, Cont, 5.45, 2.6, 0.16, 0.16, 1, 3, 0, 0.36)
A(nmos_5, Cont, 0.07, 3.685, 0.16, 0.16, 1, 3, 0, 0.36)
A(nmos_5, Cont, 5.45, 3.685, 0.16, 0.16, 1, 3, 0, 0.36)
R(nmos_5, Cont, [(0.07,4.77,0.23,4.93), (5.45,4.77,5.61,4.93)])
R(nmos_5, Metal1, [(0.07,0,0.23,5), (5.45,0,5.61,5)])
R(nmos_5, Metal1_pin, [(0.07,0,0.23,5), (5.45,0,5.61,5)])
R(nmos_5, HeatTrans, [(0.34,-0.18,5.34,5.18)])
nmos_5.add(gdstk.Label('nmos', (2.84,2.5), layer=63, texttype=0))
nmos_5.add(gdstk.Label('nmos', (2.84,2.5), layer=51, texttype=0))

via_15 = lib.new_cell('Via$15')
R(via_15, GatPoly, [(-2.19,-0.15,2.19,0.15)])
A(via_15, Cont, -2.12, -0.08, 0.16, 0.16, 13, 1, 0.34, 0)
R(via_15, Metal1, [(-2.17,-0.08,2.17,0.08)])

via_14 = lib.new_cell('Via$14')
R(via_14, Metal1, [(-2.195,-0.105,2.195,0.105)])
R(via_14, Metal2, [(-2.195,-0.1,2.195,0.1)])
A(via_14, Via1, -2.145, -0.095, 0.19, 0.19, 11, 1, 0.41, 0)

pfd_flip_flop = lib.new_cell('PFD_flip_flop')
R(pfd_flip_flop, GatPoly, [(-7.31,-11.45,-6.97,-11.15), (-2.59,-11.45,-2.31,-11.15), (-1.93,-11.45,-1.59,-11.15), (2.79,-11.45,3.07,-11.15), (3.46,-11.45,3.8,-11.15), (8.18,-11.45,8.46,-11.15), (-7.31,-5.79,-6.97,-5.49), (-2.59,-5.79,-2.31,-5.49), (-1.93,-5.79,-1.59,-5.49), (2.79,-5.79,3.07,-5.49), (3.46,-5.79,3.8,-5.49), (8.18,-5.79,8.46,-5.49)])
A(pfd_flip_flop, Metal1, -6.98, -11.45, 4.39, 0.505, 3, 2, 5.39, 5.66)
R(pfd_flip_flop, Metal1, [(-7.32,-4.64,-7.24,-4.03), (-7.24,-4.64,8.6,-4.03), (8.6,-4.64,8.8,-4.04), (-7.005,-4.59,-6.84,-3.4), (-7.49,1.9,-7.24,2.5), (-7.24,1.9,8.58,2.51)])
R(pfd_flip_flop, Metal1_pin, [(-6.755,-4.425,-6.625,-4.295), (-7.49,2.16,-7.36,2.29)])
R(pfd_flip_flop, Metal2, [(8.44,-2.44,8.74,-1.3), (5.34,-2.23,5.68,-1.82), (0.61,-2.07,0.8,-1.82), (2.655,-2.07,3.22,-1.82), (2.06,-2.05,2.36,-0.1), (-3.105,-1.86,-2.895,-1.715), (-1.76,-1.82,-0.945,-1.44), (-0.945,-1.82,-0.53,-1.44), (-3.105,-1.715,-2.895,-0.605), (-3.11,-1.56,-3.1,-1.26), (-0.32,-1.49,0.345,-0.99), (-6.835,-1.31,-6.83,-1.26), (-4.63,-1.255,-2.905,-0.91), (5.3,-1.23,6.23,-1), (6.23,-1.08,6.24,-1), (-6.835,-1.06,-6.83,-1.01), (-3.105,-1.06,-3.1,-0.91), (6.23,-1.05,6.24,-1), (0.61,-0.99,0.91,-0.1), (-1.98,-0.775,-1.76,-0.525), (3.24,-0.775,3.46,-0.525), (-3.105,-0.605,-2.895,-0.46)])
P(pfd_flip_flop, Metal2, [(-3.105,-0.91),(-3.105,-0.91),(-3.105,-0.91),(-3.105,-0.91)])
R(pfd_flip_flop, Metal2_pin, [(-7.765,-1.225,-7.635,-1.095), (7.455,-1.225,7.585,-1.095), (5.515,-1.185,5.645,-1.055), (-5.915,-0.635,-5.785,-0.505)])
R(pfd_flip_flop, pSD, [(1.64,-0.04,1.9,0.86), (3.09,-0.04,3.39,1.19)])
R(pfd_flip_flop, Metal3, [(5.35,-5.485,5.65,-5.09), (2.31,-5.45,2.61,-5.09), (-3.93,-5.44,-3.63,-5.09), (-5.99,-4.28,-5.69,-3.76), (1.69,-3.36,1.94,-3.11), (2.31,-2.095,2.36,-2.07), (0.22,-2.07,2.36,-1.82), (-5.99,-1.08,-5.69,-1.07), (-4.245,1.03,-3.995,1.22), (-5.99,1.9,-5.69,2.19)])
R(pfd_flip_flop, Metal3_pin, [(0.335,2.685,0.465,2.815)])
pfd_flip_flop.add(gdstk.FlexPath([(-7.5,-11.47),(-7.5,-5.03)], 0.3, ends="flush", simple_path=True, layer=8, datatype=0))  # Metal1
pfd_flip_flop.add(gdstk.FlexPath([(-2.11,-11.47),(-2.11,-5.03)], 0.3, ends="flush", simple_path=True, layer=8, datatype=0))  # Metal1
pfd_flip_flop.add(gdstk.FlexPath([(-2.11,-5.03),(-2.11,-4.64)], 0.3, ends="flush", simple_path=True, layer=8, datatype=0))  # Metal1
pfd_flip_flop.add(gdstk.FlexPath([(3.28,-11.47),(3.28,-5.03)], 0.3, ends="flush", simple_path=True, layer=8, datatype=0))  # Metal1
pfd_flip_flop.add(gdstk.FlexPath([(3.28,-5.03),(3.28,-4.64)], 0.3, ends="flush", simple_path=True, layer=8, datatype=0))  # Metal1
pfd_flip_flop.add(gdstk.FlexPath([(8.65,-11.47),(8.65,-5.03)], 0.3, ends="flush", simple_path=True, layer=8, datatype=0))  # Metal1
pfd_flip_flop.add(gdstk.FlexPath([(8.65,-5.03),(8.65,-4.64)], 0.3, ends="flush", simple_path=True, layer=8, datatype=0))  # Metal1
pfd_flip_flop.add(gdstk.FlexPath([(-7.485,-5.3),(-7.485,-4.03)], 0.33, ends="flush", simple_path=True, layer=8, datatype=0))  # Metal1
pfd_flip_flop.add(gdstk.FlexPath([(7.5,-1.17),(8.15,-1.17)], 0.2, ends="flush", simple_path=True, layer=10, datatype=0))  # Metal2
pfd_flip_flop.add(gdstk.FlexPath([(0.34,-1.24),(0.91,-1.24)], 0.5, ends="flush", simple_path=True, layer=10, datatype=0))  # Metal2
pfd_flip_flop.add(gdstk.FlexPath([(-7.65,-4.88),(-5.07,-4.88)], 0.3, ends="flush", simple_path=True, layer=10, datatype=0))  # Metal2
pfd_flip_flop.add(gdstk.FlexPath([(-7.65,2.75),(-5.07,2.75)], 0.3, ends="flush", simple_path=True, layer=10, datatype=0))  # Metal2
pfd_flip_flop.add(gdstk.FlexPath([(-5.07,-4.88),(1.94,-4.88)], 0.3, ends="flush", simple_path=True, layer=10, datatype=0))  # Metal2
pfd_flip_flop.add(gdstk.FlexPath([(-6.11,2.09),(1.89,2.09)], 0.3, ends="flush", simple_path=True, layer=10, datatype=0))  # Metal2
pfd_flip_flop.add(gdstk.FlexPath([(1.74,1.22),(1.74,1.94)], 0.3, ends="flush", simple_path=True, layer=10, datatype=0))  # Metal2
pfd_flip_flop.add(gdstk.FlexPath([(-6.11,-4.18),(8.6,-4.18)], 0.3, ends="flush", simple_path=True, layer=10, datatype=0))  # Metal2
pfd_flip_flop.add(gdstk.FlexPath([(8.45,-4.33),(8.45,-3.54)], 0.3, ends="flush", simple_path=True, layer=10, datatype=0))  # Metal2
pfd_flip_flop.add(gdstk.FlexPath([(-0.945,-1.945),(0.61,-1.945)], 0.25, ends="flush", simple_path=True, layer=10, datatype=0))  # Metal2
pfd_flip_flop.add(gdstk.FlexPath([(-5.07,2.75),(9.03,2.75)], 0.3, ends="flush", simple_path=True, layer=10, datatype=0))  # Metal2
pfd_flip_flop.add(gdstk.FlexPath([(8.66,-2.08),(5.48,-2.08)], 0.3, ends="flush", simple_path=True, layer=10, datatype=0))  # Metal2
pfd_flip_flop.add(gdstk.FlexPath([(3.43,-1.945),(5.48,-1.945)], 0.25, ends="flush", simple_path=True, layer=10, datatype=0))  # Metal2
pfd_flip_flop.add(gdstk.FlexPath([(-5.325,1.37),(-3.995,1.37)], 0.25, ends="flush", simple_path=True, layer=10, datatype=0))  # Metal2
pfd_flip_flop.add(gdstk.FlexPath([(-5.49,-3.66),(-4.215,-3.66)], 0.3, ends="flush", simple_path=True, layer=10, datatype=0))  # Metal2
pfd_flip_flop.add(gdstk.FlexPath([(0.485,-3.65),(3.045,-3.65)], 0.3, ends="flush", simple_path=True, layer=10, datatype=0))  # Metal2
pfd_flip_flop.add(gdstk.FlexPath([(1.41,-2.43),(0.32,-2.43),(0.32,-2.43)], 0.3, ends="flush", simple_path=True, layer=10, datatype=0))  # Metal2
pfd_flip_flop.add(gdstk.FlexPath([(-5.48,-3.66),(-6.02,-3.66)], 0.3, ends="flush", simple_path=True, layer=10, datatype=0))  # Metal2
pfd_flip_flop.add(gdstk.FlexPath([(0.485,1.37),(3.045,1.37)], 0.3, ends="flush", simple_path=True, layer=10, datatype=0))  # Metal2
pfd_flip_flop.add(gdstk.FlexPath([(-6.835,-1.16),(-7.77,-1.16)], 0.3, ends="flush", simple_path=True, layer=10, datatype=0))  # Metal2
pfd_flip_flop.add(gdstk.FlexPath([(-4.48,-0.91),(-4.48,-2.43)], 0.3, ends="flush", simple_path=True, layer=10, datatype=0))  # Metal2
pfd_flip_flop.add(gdstk.FlexPath([(-4.93,-0.57),(-5.99,-0.57)], 0.25, ends="flush", simple_path=True, layer=10, datatype=0))  # Metal2
pfd_flip_flop.add(gdstk.FlexPath([(-2.01,-1.06),(-2.01,-2.07)], 0.5, ends="flush", simple_path=True, layer=10, datatype=0))  # Metal2
pfd_flip_flop.add(gdstk.FlexPath([(0.32,-1.12),(-0.325,-1.12)], 0.25, ends="flush", simple_path=True, layer=10, datatype=0))  # Metal2
pfd_flip_flop.add(gdstk.FlexPath([(-3.78,-5.44),(-3.78,-11.16)], 0.3, ends="flush", simple_path=True, layer=30, datatype=0))  # Metal3
pfd_flip_flop.add(gdstk.FlexPath([(2.46,-5.44),(2.46,-11.16)], 0.3, ends="flush", simple_path=True, layer=30, datatype=0))  # Metal3
pfd_flip_flop.add(gdstk.FlexPath([(5.5,-5.44),(5.5,-11.16)], 0.3, ends="flush", simple_path=True, layer=30, datatype=0))  # Metal3
pfd_flip_flop.add(gdstk.FlexPath([(2.36,-1.945),(2.46,-1.945),(2.46,-5.09)], 0.3, ends="flush", simple_path=True, layer=30, datatype=0))  # Metal3
pfd_flip_flop.add(gdstk.FlexPath([(-3.78,-4.085),(-3.78,-5.09)], 0.3, ends="flush", simple_path=True, layer=30, datatype=0))  # Metal3
pfd_flip_flop.add(gdstk.FlexPath([(5.5,-1.81),(5.5,-5.09)], 0.3, ends="flush", simple_path=True, layer=30, datatype=0))  # Metal3
pfd_flip_flop.add(gdstk.FlexPath([(-1.87,-0.775),(-1.87,2.925)], 0.25, ends="flush", simple_path=True, layer=30, datatype=0))  # Metal3
pfd_flip_flop.add(gdstk.FlexPath([(-7.5,1.75),(-7.5,2.84)], 0.3, ends="flush", simple_path=True, layer=30, datatype=0))  # Metal3
pfd_flip_flop.add(gdstk.FlexPath([(8.9,1.22),(8.9,2.9)], 0.25, ends="flush", simple_path=True, layer=30, datatype=0))  # Metal3
pfd_flip_flop.add(gdstk.FlexPath([(-7.5,-1.31),(-7.5,-4.99)], 0.3, ends="flush", simple_path=True, layer=30, datatype=0))  # Metal3
pfd_flip_flop.add(gdstk.FlexPath([(-4.12,1.22),(-4.12,2.9)], 0.25, ends="flush", simple_path=True, layer=30, datatype=0))  # Metal3
pfd_flip_flop.add(gdstk.FlexPath([(1.815,-5.04),(1.815,-3.36)], 0.25, ends="flush", simple_path=True, layer=30, datatype=0))  # Metal3
pfd_flip_flop.add(gdstk.FlexPath([(-5.84,-1.07),(-5.84,1.9)], 0.3, ends="flush", simple_path=True, layer=30, datatype=0))  # Metal3
pfd_flip_flop.add(gdstk.FlexPath([(3.35,-0.775),(3.35,2.925)], 0.25, ends="flush", simple_path=True, layer=30, datatype=0))  # Metal3
pfd_flip_flop.add(gdstk.FlexPath([(-1.76,2.75),(3.475,2.75)], 0.3, ends="flush", simple_path=True, layer=30, datatype=0))  # Metal3
pfd_flip_flop.add(gdstk.FlexPath([(0.46,-2.28),(0.46,-3.66),(-2.04,-3.66)], 0.25, ends="flush", simple_path=True, layer=30, datatype=0))  # Metal3
pfd_flip_flop.add(gdstk.FlexPath([(-1.92,-3.535),(-1.92,-3.96),(-3.8,-3.96),(-3.8,-2.22)], 0.25, ends="flush", simple_path=True, layer=30, datatype=0))  # Metal3
pfd_flip_flop.add(gdstk.FlexPath([(-3.8,-2.22),(-3.8,-0.91)], 0.25, ends="flush", simple_path=True, layer=30, datatype=0))  # Metal3
pfd_flip_flop.add(gdstk.FlexPath([(-5.84,-1.08),(-5.84,-3.76)], 0.3, ends="flush", simple_path=True, layer=30, datatype=0))  # Metal3
pfd_flip_flop.add(gdstk.FlexPath([(-7.5,-1.31),(-7.5,1.75)], 0.3, ends="flush", simple_path=True, layer=30, datatype=0))  # Metal3
pfd_flip_flop.add(gdstk.Reference(inverter_x8, (6.6,0)))
pfd_flip_flop.add(gdstk.Reference(via_12, (0.46,-2.63), rotation=pi))
pfd_flip_flop.add(gdstk.Reference(pfd_passgate, (-1.55,0)))
pfd_flip_flop.add(gdstk.Reference(pfd_nor, (-1.07,0)))
pfd_flip_flop.add(gdstk.Reference(via, (-7.5,-0.96), rotation=pi/2))
pfd_flip_flop.add(gdstk.Reference(via, (-1.87,-0.42), rotation=pi/2))
pfd_flip_flop.add(gdstk.Reference(via, (8.9,2.55), rotation=pi/2))
pfd_flip_flop.add(gdstk.Reference(via, (8.9,1.57), rotation=pi/2))
pfd_flip_flop.add(gdstk.Reference(via_12, (-7.29,-4.89), rotation=pi/2))
pfd_flip_flop.add(gdstk.Reference(via, (-4.12,1.38), rotation=pi/2))
pfd_flip_flop.add(gdstk.Reference(via_12, (-4.12,2.6), rotation=pi/2))
pfd_flip_flop.add(gdstk.Reference(via_12, (1.57,-4.91), rotation=pi/2))
pfd_flip_flop.add(gdstk.Reference(via, (1.82,-3.46), rotation=pi/2))
pfd_flip_flop.add(gdstk.Reference(via_12, (-5.76,2.09), rotation=pi/2))
pfd_flip_flop.add(gdstk.Reference(via_12, (-5.76,-4.18), rotation=pi/2))
pfd_flip_flop.add(gdstk.Reference(via, (0.57,-1.95), rotation=pi))
pfd_flip_flop.add(gdstk.Reference(via, (2.01,-1.95), rotation=pi))
pfd_flip_flop.add(gdstk.Reference(via, (3.35,-0.42), rotation=pi/2))
pfd_flip_flop.add(gdstk.Reference(via_12, (-3.79,-1.26), rotation=pi))
pfd_flip_flop.add(gdstk.Reference(via_12, (-5.67,-3.65), rotation=pi/2))
pfd_flip_flop.add(gdstk.Reference(inverter_x4, (-6.47,0)))
pfd_flip_flop.add(gdstk.Reference(inverter_x8, (-2.74,0)))
pfd_flip_flop.add(gdstk.Reference(pfd_passgate, (4.26,0)))
pfd_flip_flop.add(gdstk.Reference(pfd_passgate, (5.71,0)))
pfd_flip_flop.add(gdstk.Reference(pfd_nor, (3.91,0)))
pfd_flip_flop.add(gdstk.Reference(pfd_passgate, (11.52,0)))
pfd_flip_flop.add(gdstk.Reference(via_12, (-7.29,2.74), rotation=pi/2))
pfd_flip_flop.add(gdstk.Reference(via, (5.51,-5.38)))
pfd_flip_flop.add(gdstk.Reference(via_12, (5.5,-2.16)))
pfd_flip_flop.add(gdstk.Reference(nmos_5, (3.11,-10.97)))
pfd_flip_flop.add(gdstk.Reference(nmos_5, (-2.27,-10.97)))
pfd_flip_flop.add(gdstk.Reference(via_15, (-4.78,-5.64)))
pfd_flip_flop.add(gdstk.Reference(via_15, (5.99,-5.64)))
pfd_flip_flop.add(gdstk.Reference(via_14, (-4.785,-5.385)))
pfd_flip_flop.add(gdstk.Reference(via, (-3.78,-5.38)))
pfd_flip_flop.add(gdstk.Reference(via_15, (0.6,-5.64)))
pfd_flip_flop.add(gdstk.Reference(via_14, (0.595,-5.385)))
pfd_flip_flop.add(gdstk.Reference(via_15, (5.99,-11.3)))
pfd_flip_flop.add(gdstk.Reference(via_14, (5.995,-5.385)))
pfd_flip_flop.add(gdstk.Reference(via_15, (0.6,-11.3)))
pfd_flip_flop.add(gdstk.Reference(via, (2.4,-5.38)))
pfd_flip_flop.add(gdstk.Reference(via_15, (-4.78,-11.3)))
pfd_flip_flop.add(gdstk.Reference(nmos_5, (-7.65,-10.97)))
pfd_flip_flop.add(gdstk.Reference(via_14, (-4.785,-11.05)))
pfd_flip_flop.add(gdstk.Reference(via_14, (0.61,-11.05)))
pfd_flip_flop.add(gdstk.Reference(via_14, (5.99,-11.05)))
pfd_flip_flop.add(gdstk.Reference(via, (-3.78,-11.06)))
pfd_flip_flop.add(gdstk.Reference(via, (2.44,-11.06)))
pfd_flip_flop.add(gdstk.Reference(via, (5.49,-11.06)))
pfd_flip_flop.add(gdstk.Label('2', (2.46,-3.52), layer=30, texttype=0))
pfd_flip_flop.add(gdstk.Label('3', (5.55,-3.89), layer=30, texttype=0))
pfd_flip_flop.add(gdstk.Label('post_NOR', (0.22,-1.35), layer=10, texttype=25))
pfd_flip_flop.add(gdstk.Label('clk_n', (-5.64,-1.17), layer=10, texttype=25))
pfd_flip_flop.add(gdstk.Label('1', (-4.13,-1.16), layer=10, texttype=25))
pfd_flip_flop.add(gdstk.Label('2', (-2.01,-1.55), layer=10, texttype=25))
pfd_flip_flop.add(gdstk.Label('3', (3.09,-1.93), layer=10, texttype=25))
pfd_flip_flop.add(gdstk.Label('Q', (5.58,-1.12), layer=10, texttype=25))
pfd_flip_flop.add(gdstk.Label('NQ', (7.52,-1.16), layer=10, texttype=25))
pfd_flip_flop.add(gdstk.Label('clk', (-7.7,-1.16), layer=10, texttype=25))
pfd_flip_flop.add(gdstk.Label('D', (-5.85,-0.57), layer=10, texttype=25))
pfd_flip_flop.add(gdstk.Label('vp', (-7.425,2.225), layer=8, texttype=25))
pfd_flip_flop.add(gdstk.Label('gd', (-6.69,-4.36), layer=8, texttype=25))
pfd_flip_flop.add(gdstk.Label('1', (-3.8,-2.76), layer=30, texttype=25))
pfd_flip_flop.add(gdstk.Label('rst', (0.4,2.75), layer=30, texttype=25))

lib.write_gds('PFD_flip_flop.gds')
